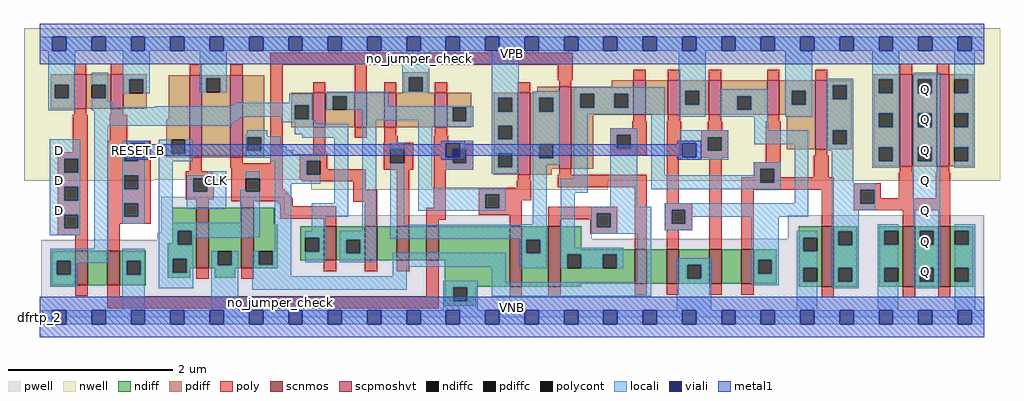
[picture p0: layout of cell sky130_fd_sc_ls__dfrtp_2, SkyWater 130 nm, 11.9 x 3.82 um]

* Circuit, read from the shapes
.subckt sky130_fd_sc_ls__dfrtp_2 CLK D RESET_B VGND VNB VPB VPWR Q
XM1 n1 D n2 VNB sky130_fd_pr__nfet_01v8 w=0.42 l=0.15
XM2 VGND RESET_B n1 VNB sky130_fd_pr__nfet_01v8 w=0.42 l=0.15
XM3 VGND CLK n3 VNB sky130_fd_pr__nfet_01v8 w=0.74 l=0.15
XM4 n4 n3 VGND VNB sky130_fd_pr__nfet_01v8 w=0.74 l=0.15
XM5 n5 n3 n2 VNB sky130_fd_pr__nfet_01v8 w=0.42 l=0.15
XM6 n6 n4 n5 VNB sky130_fd_pr__nfet_01v8 w=0.42 l=0.15
XM7 n7 n8 n6 VNB sky130_fd_pr__nfet_01v8 w=0.42 l=0.15
XM8 VGND RESET_B n7 VNB sky130_fd_pr__nfet_01v8 w=0.42 l=0.15
XM9 n8 n5 VGND VNB sky130_fd_pr__nfet_01v8 w=0.74 l=0.15
XM10 n9 n4 n8 VNB sky130_fd_pr__nfet_01v8 w=0.74 l=0.15
XM11 n10 n3 n9 VNB sky130_fd_pr__nfet_01v8 w=0.42 l=0.15
XM12 VGND n11 n10 VNB sky130_fd_pr__nfet_01v8 w=0.42 l=0.15
XM13 n12 RESET_B VGND VNB sky130_fd_pr__nfet_01v8 w=0.42 l=0.15
XM14 n11 n9 n12 VNB sky130_fd_pr__nfet_01v8 w=0.42 l=0.15
XM15 n13 n9 VGND VNB sky130_fd_pr__nfet_01v8 w=0.74 l=0.15
XM16 Q n13 VGND VNB sky130_fd_pr__nfet_01v8 w=0.74 l=0.15 m=2
XM17 n2 D VPWR VPB sky130_fd_pr__pfet_01v8_hvt w=0.42 l=0.15
XM18 VPWR RESET_B n2 VPB sky130_fd_pr__pfet_01v8_hvt w=0.42 l=0.15
XM19 VPWR CLK n3 VPB sky130_fd_pr__pfet_01v8_hvt w=1 l=0.15
XM20 n4 n3 VPWR VPB sky130_fd_pr__pfet_01v8_hvt w=1 l=0.15
XM21 n5 n4 n2 VPB sky130_fd_pr__pfet_01v8_hvt w=0.42 l=0.15
XM22 n14 n3 n5 VPB sky130_fd_pr__pfet_01v8_hvt w=0.42 l=0.15
XM23 VPWR n8 n14 VPB sky130_fd_pr__pfet_01v8_hvt w=0.42 l=0.15
XM24 n5 RESET_B VPWR VPB sky130_fd_pr__pfet_01v8_hvt w=0.42 l=0.15
XM25 n8 n5 VPWR VPB sky130_fd_pr__pfet_01v8_hvt w=1 l=0.15
XM26 n9 n3 n8 VPB sky130_fd_pr__pfet_01v8_hvt w=1 l=0.15
XM27 n15 n4 n9 VPB sky130_fd_pr__pfet_01v8_hvt w=0.42 l=0.15
XM28 VPWR n11 n15 VPB sky130_fd_pr__pfet_01v8_hvt w=0.42 l=0.15
XM29 n11 RESET_B VPWR VPB sky130_fd_pr__pfet_01v8_hvt w=0.42 l=0.15
XM30 VPWR n9 n11 VPB sky130_fd_pr__pfet_01v8_hvt w=0.42 l=0.15
XM31 n13 n9 VPWR VPB sky130_fd_pr__pfet_01v8_hvt w=0.84 l=0.15
XM32 Q n13 VPWR VPB sky130_fd_pr__pfet_01v8_hvt w=1.12 l=0.15 m=2
.ends

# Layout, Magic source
magic
tech sky130A
magscale 1 2
<< nwell >>
rect -38 335 2342 704
rect -38 332 278 335
rect 662 332 2342 335
rect 662 311 1386 332
<< pwell >>
rect 297 251 598 293
rect 297 248 607 251
rect 297 206 1347 248
rect 287 191 1347 206
rect 1825 191 2303 248
rect 287 188 2303 191
rect 4 49 2303 188
rect 0 0 2304 49
<< scnmos >>
rect 87 78 117 162
rect 165 78 195 162
rect 382 119 412 267
rect 492 119 522 267
rect 693 138 723 222
rect 793 138 823 222
rect 871 138 901 222
rect 943 138 973 222
rect 1146 74 1176 222
rect 1241 74 1271 222
rect 1451 81 1481 165
rect 1529 81 1559 165
rect 1633 81 1663 165
rect 1711 81 1741 165
rect 1907 74 1937 222
rect 2105 74 2135 222
rect 2191 74 2221 222
<< scpmoshvt >>
rect 84 508 114 592
rect 174 508 204 592
rect 366 390 396 590
rect 465 390 495 590
rect 667 463 697 547
rect 768 463 798 547
rect 840 463 870 547
rect 964 463 994 547
rect 1166 347 1196 547
rect 1267 362 1297 562
rect 1448 493 1478 577
rect 1532 493 1562 577
rect 1632 493 1662 577
rect 1774 493 1804 577
rect 1891 409 1921 577
rect 2098 368 2128 592
rect 2188 368 2218 592
<< ndiff >>
rect 323 210 382 267
rect 323 180 337 210
rect 313 176 337 180
rect 371 176 382 210
rect 30 137 87 162
rect 30 103 42 137
rect 76 103 87 137
rect 30 78 87 103
rect 117 78 165 162
rect 195 137 259 162
rect 195 103 213 137
rect 247 103 259 137
rect 195 78 259 103
rect 313 142 382 176
rect 313 108 325 142
rect 359 119 382 142
rect 412 160 492 267
rect 412 126 435 160
rect 469 126 492 160
rect 412 119 492 126
rect 522 225 572 267
rect 522 161 581 225
rect 522 127 535 161
rect 569 127 581 161
rect 636 193 693 222
rect 636 159 648 193
rect 682 159 693 193
rect 636 138 693 159
rect 723 189 793 222
rect 723 155 748 189
rect 782 155 793 189
rect 723 138 793 155
rect 823 138 871 222
rect 901 138 943 222
rect 973 138 1146 222
rect 522 119 581 127
rect 359 108 367 119
rect 313 96 367 108
rect 427 96 477 119
rect 988 74 1146 138
rect 1176 189 1241 222
rect 1176 155 1187 189
rect 1221 155 1241 189
rect 1176 74 1241 155
rect 1271 165 1321 222
rect 1851 194 1907 222
rect 1271 153 1451 165
rect 1271 119 1287 153
rect 1321 119 1373 153
rect 1407 119 1451 153
rect 1271 81 1451 119
rect 1481 81 1529 165
rect 1559 127 1633 165
rect 1559 93 1579 127
rect 1613 93 1633 127
rect 1559 81 1633 93
rect 1663 81 1711 165
rect 1741 140 1797 165
rect 1741 106 1752 140
rect 1786 106 1797 140
rect 1741 81 1797 106
rect 1851 160 1862 194
rect 1896 160 1907 194
rect 1851 120 1907 160
rect 1851 86 1862 120
rect 1896 86 1907 120
rect 1271 74 1321 81
rect 988 73 1065 74
rect 988 39 1009 73
rect 1043 39 1065 73
rect 1851 74 1907 86
rect 1937 209 1994 222
rect 1937 175 1948 209
rect 1982 175 1994 209
rect 1937 120 1994 175
rect 1937 86 1948 120
rect 1982 86 1994 120
rect 1937 74 1994 86
rect 2048 210 2105 222
rect 2048 176 2060 210
rect 2094 176 2105 210
rect 2048 120 2105 176
rect 2048 86 2060 120
rect 2094 86 2105 120
rect 2048 74 2105 86
rect 2135 210 2191 222
rect 2135 176 2146 210
rect 2180 176 2191 210
rect 2135 120 2191 176
rect 2135 86 2146 120
rect 2180 86 2191 120
rect 2135 74 2191 86
rect 2221 210 2277 222
rect 2221 176 2232 210
rect 2266 176 2277 210
rect 2221 120 2277 176
rect 2221 86 2232 120
rect 2266 86 2277 120
rect 2221 74 2277 86
rect 988 27 1065 39
<< pdiff >>
rect 27 567 84 592
rect 27 533 37 567
rect 71 533 84 567
rect 27 508 84 533
rect 114 567 174 592
rect 114 533 127 567
rect 161 533 174 567
rect 114 508 174 533
rect 204 580 261 592
rect 204 546 219 580
rect 253 546 261 580
rect 204 508 261 546
rect 315 482 366 590
rect 309 432 366 482
rect 309 398 321 432
rect 355 398 366 432
rect 309 390 366 398
rect 396 582 465 590
rect 396 548 407 582
rect 441 548 465 582
rect 396 390 465 548
rect 495 439 548 590
rect 495 405 506 439
rect 540 405 548 439
rect 495 390 548 405
rect 888 585 946 597
rect 888 551 900 585
rect 934 551 946 585
rect 2034 580 2098 592
rect 888 547 946 551
rect 1395 562 1448 577
rect 1214 547 1267 562
rect 614 516 667 547
rect 614 482 622 516
rect 656 482 667 516
rect 614 463 667 482
rect 697 539 768 547
rect 697 505 715 539
rect 749 505 768 539
rect 697 463 768 505
rect 798 463 840 547
rect 870 463 964 547
rect 994 512 1053 547
rect 994 478 1007 512
rect 1041 478 1053 512
rect 994 463 1053 478
rect 1107 535 1166 547
rect 1107 501 1119 535
rect 1153 501 1166 535
rect 1107 467 1166 501
rect 1107 433 1119 467
rect 1153 433 1166 467
rect 1107 399 1166 433
rect 1107 365 1119 399
rect 1153 365 1166 399
rect 1107 347 1166 365
rect 1196 535 1267 547
rect 1196 501 1219 535
rect 1253 501 1267 535
rect 1196 421 1267 501
rect 1196 387 1219 421
rect 1253 387 1267 421
rect 1196 362 1267 387
rect 1297 545 1448 562
rect 1297 511 1319 545
rect 1353 511 1401 545
rect 1435 511 1448 545
rect 1297 493 1448 511
rect 1478 493 1532 577
rect 1562 552 1632 577
rect 1562 518 1575 552
rect 1609 518 1632 552
rect 1562 493 1632 518
rect 1662 539 1774 577
rect 1662 505 1701 539
rect 1735 505 1774 539
rect 1662 493 1774 505
rect 1804 552 1891 577
rect 1804 518 1834 552
rect 1868 518 1891 552
rect 1804 493 1891 518
rect 1297 362 1350 493
rect 1196 347 1249 362
rect 1822 409 1891 493
rect 1921 565 1980 577
rect 1921 531 1934 565
rect 1968 531 1980 565
rect 1921 456 1980 531
rect 1921 422 1934 456
rect 1968 422 1980 456
rect 1921 409 1980 422
rect 2034 546 2046 580
rect 2080 546 2098 580
rect 2034 497 2098 546
rect 2034 463 2046 497
rect 2080 463 2098 497
rect 2034 414 2098 463
rect 2034 380 2046 414
rect 2080 380 2098 414
rect 2034 368 2098 380
rect 2128 580 2188 592
rect 2128 546 2141 580
rect 2175 546 2188 580
rect 2128 497 2188 546
rect 2128 463 2141 497
rect 2175 463 2188 497
rect 2128 414 2188 463
rect 2128 380 2141 414
rect 2175 380 2188 414
rect 2128 368 2188 380
rect 2218 580 2277 592
rect 2218 546 2231 580
rect 2265 546 2277 580
rect 2218 497 2277 546
rect 2218 463 2231 497
rect 2265 463 2277 497
rect 2218 414 2277 463
rect 2218 380 2231 414
rect 2265 380 2277 414
rect 2218 368 2277 380
<< ndiffc >>
rect 337 176 371 210
rect 42 103 76 137
rect 213 103 247 137
rect 325 108 359 142
rect 435 126 469 160
rect 535 127 569 161
rect 648 159 682 193
rect 748 155 782 189
rect 1187 155 1221 189
rect 1287 119 1321 153
rect 1373 119 1407 153
rect 1579 93 1613 127
rect 1752 106 1786 140
rect 1862 160 1896 194
rect 1862 86 1896 120
rect 1009 39 1043 73
rect 1948 175 1982 209
rect 1948 86 1982 120
rect 2060 176 2094 210
rect 2060 86 2094 120
rect 2146 176 2180 210
rect 2146 86 2180 120
rect 2232 176 2266 210
rect 2232 86 2266 120
<< pdiffc >>
rect 37 533 71 567
rect 127 533 161 567
rect 219 546 253 580
rect 321 398 355 432
rect 407 548 441 582
rect 506 405 540 439
rect 900 551 934 585
rect 622 482 656 516
rect 715 505 749 539
rect 1007 478 1041 512
rect 1119 501 1153 535
rect 1119 433 1153 467
rect 1119 365 1153 399
rect 1219 501 1253 535
rect 1219 387 1253 421
rect 1319 511 1353 545
rect 1401 511 1435 545
rect 1575 518 1609 552
rect 1701 505 1735 539
rect 1834 518 1868 552
rect 1934 531 1968 565
rect 1934 422 1968 456
rect 2046 546 2080 580
rect 2046 463 2080 497
rect 2046 380 2080 414
rect 2141 546 2175 580
rect 2141 463 2175 497
rect 2141 380 2175 414
rect 2231 546 2265 580
rect 2231 463 2265 497
rect 2231 380 2265 414
<< poly >>
rect 84 592 114 618
rect 174 592 204 618
rect 366 590 396 616
rect 465 590 495 616
rect 563 615 1300 645
rect 84 493 114 508
rect 174 493 204 508
rect 81 402 117 493
rect 171 430 214 493
rect 44 386 117 402
rect 44 352 60 386
rect 94 352 117 386
rect 44 318 117 352
rect 44 284 60 318
rect 94 284 117 318
rect 44 250 117 284
rect 44 216 60 250
rect 94 216 117 250
rect 44 200 117 216
rect 87 162 117 200
rect 165 414 271 430
rect 165 380 207 414
rect 241 380 271 414
rect 165 346 271 380
rect 366 355 396 390
rect 465 375 495 390
rect 563 375 593 615
rect 667 547 697 573
rect 768 547 798 615
rect 840 547 870 573
rect 1264 577 1300 615
rect 1448 577 1478 603
rect 1532 577 1562 603
rect 1632 577 1662 603
rect 1774 577 1804 603
rect 1891 577 1921 603
rect 2098 592 2128 618
rect 2188 592 2218 618
rect 964 547 994 573
rect 1166 547 1196 573
rect 1267 562 1297 577
rect 667 398 697 463
rect 768 437 798 463
rect 840 442 870 463
rect 964 442 994 463
rect 840 425 873 442
rect 961 425 997 442
rect 839 409 911 425
rect 667 397 701 398
rect 465 364 593 375
rect 165 312 207 346
rect 241 312 271 346
rect 165 278 271 312
rect 356 351 421 355
rect 356 339 425 351
rect 356 305 375 339
rect 409 305 425 339
rect 356 287 425 305
rect 467 339 593 364
rect 467 305 503 339
rect 537 312 593 339
rect 635 381 701 397
rect 635 347 651 381
rect 685 361 701 381
rect 839 375 855 409
rect 889 375 911 409
rect 685 347 795 361
rect 839 359 911 375
rect 961 409 1057 425
rect 961 375 1007 409
rect 1041 375 1057 409
rect 961 359 1057 375
rect 635 337 795 347
rect 637 335 795 337
rect 639 333 795 335
rect 641 331 795 333
rect 537 307 598 312
rect 765 311 795 331
rect 537 305 601 307
rect 467 304 601 305
rect 467 301 604 304
rect 467 298 607 301
rect 467 296 609 298
rect 467 293 612 296
rect 467 290 615 293
rect 165 244 207 278
rect 241 244 271 278
rect 382 267 412 287
rect 467 282 617 290
rect 492 267 522 282
rect 580 280 617 282
rect 765 281 823 311
rect 581 279 617 280
rect 583 278 617 279
rect 584 276 617 278
rect 585 275 617 276
rect 587 270 617 275
rect 165 228 271 244
rect 165 162 195 228
rect 587 240 723 270
rect 693 222 723 240
rect 793 222 823 281
rect 871 222 901 359
rect 961 267 991 359
rect 1448 478 1478 493
rect 1532 478 1562 493
rect 1632 478 1662 493
rect 1774 478 1804 493
rect 1445 461 1481 478
rect 1391 445 1481 461
rect 1391 411 1407 445
rect 1441 411 1481 445
rect 1391 395 1481 411
rect 1529 395 1565 478
rect 1629 455 1665 478
rect 1613 439 1679 455
rect 1613 405 1629 439
rect 1663 405 1679 439
rect 1267 347 1297 362
rect 1166 332 1196 347
rect 1163 315 1199 332
rect 1264 317 1481 347
rect 943 237 991 267
rect 1071 299 1199 315
rect 1071 265 1087 299
rect 1121 285 1199 299
rect 1121 265 1176 285
rect 1071 249 1176 265
rect 943 222 973 237
rect 1146 222 1176 249
rect 1241 253 1409 269
rect 1241 239 1359 253
rect 1241 222 1271 239
rect 382 93 412 119
rect 492 93 522 119
rect 693 112 723 138
rect 793 112 823 138
rect 871 112 901 138
rect 87 52 117 78
rect 165 51 195 78
rect 943 51 973 138
rect 165 21 973 51
rect 1343 219 1359 239
rect 1393 219 1409 253
rect 1343 203 1409 219
rect 1451 165 1481 317
rect 1529 278 1559 395
rect 1613 389 1679 405
rect 1525 262 1591 278
rect 1525 228 1541 262
rect 1575 228 1591 262
rect 1525 212 1591 228
rect 1529 165 1559 212
rect 1633 165 1663 389
rect 1771 378 1807 478
rect 1891 394 1921 409
rect 1741 362 1807 378
rect 1741 341 1757 362
rect 1711 328 1757 341
rect 1791 341 1807 362
rect 1888 341 1924 394
rect 2098 353 2128 368
rect 2188 353 2218 368
rect 1791 328 1937 341
rect 1711 311 1937 328
rect 1711 165 1741 311
rect 1907 222 1937 311
rect 1985 310 2051 326
rect 1985 276 2001 310
rect 2035 290 2051 310
rect 2095 290 2131 353
rect 2185 290 2221 353
rect 2035 276 2221 290
rect 1985 260 2221 276
rect 2105 222 2135 260
rect 2191 222 2221 260
rect 1146 48 1176 74
rect 1241 48 1271 74
rect 1451 55 1481 81
rect 1529 55 1559 81
rect 1633 55 1663 81
rect 1711 55 1741 81
rect 1907 48 1937 74
rect 2105 48 2135 74
rect 2191 48 2221 74
<< polycont >>
rect 60 352 94 386
rect 60 284 94 318
rect 60 216 94 250
rect 207 380 241 414
rect 207 312 241 346
rect 375 305 409 339
rect 503 305 537 339
rect 651 347 685 381
rect 855 375 889 409
rect 1007 375 1041 409
rect 207 244 241 278
rect 1407 411 1441 445
rect 1629 405 1663 439
rect 1087 265 1121 299
rect 1359 219 1393 253
rect 1541 228 1575 262
rect 1757 328 1791 362
rect 2001 276 2035 310
<< locali >>
rect 0 649 31 683
rect 65 649 127 683
rect 161 649 223 683
rect 257 649 319 683
rect 353 649 415 683
rect 449 649 511 683
rect 545 649 607 683
rect 641 649 703 683
rect 737 649 799 683
rect 833 649 895 683
rect 929 649 991 683
rect 1025 649 1087 683
rect 1121 649 1183 683
rect 1217 649 1279 683
rect 1313 649 1375 683
rect 1409 649 1471 683
rect 1505 649 1567 683
rect 1601 649 1663 683
rect 1697 649 1759 683
rect 1793 649 1855 683
rect 1889 649 1951 683
rect 1985 649 2047 683
rect 2081 649 2143 683
rect 2177 649 2239 683
rect 2273 649 2304 683
rect 21 567 87 649
rect 21 533 37 567
rect 71 533 87 567
rect 21 504 87 533
rect 127 567 167 596
rect 161 533 167 567
rect 203 580 269 649
rect 203 546 219 580
rect 253 546 269 580
rect 391 582 457 649
rect 391 548 407 582
rect 441 548 457 582
rect 884 585 950 649
rect 884 551 900 585
rect 934 551 950 585
rect 127 526 167 533
rect 127 521 174 526
rect 609 523 665 545
rect 481 521 665 523
rect 127 512 178 521
rect 478 519 665 521
rect 475 518 665 519
rect 473 517 665 518
rect 471 516 665 517
rect 469 515 622 516
rect 466 514 622 515
rect 281 512 622 514
rect 127 504 622 512
rect 133 489 622 504
rect 133 488 497 489
rect 133 487 494 488
rect 133 486 492 487
rect 133 484 488 486
rect 133 481 484 484
rect 589 482 622 489
rect 656 482 665 516
rect 699 539 850 550
rect 884 548 950 551
rect 699 505 715 539
rect 749 514 850 539
rect 1103 535 1169 649
rect 749 512 1057 514
rect 749 505 1007 512
rect 133 479 481 481
rect 589 480 665 482
rect 787 480 1007 505
rect 133 476 477 479
rect 133 471 472 476
rect 589 475 674 480
rect 622 471 674 475
rect 133 466 468 471
rect 25 386 99 434
rect 25 352 60 386
rect 94 352 99 386
rect 25 318 99 352
rect 25 284 60 318
rect 94 284 99 318
rect 25 250 99 284
rect 25 216 60 250
rect 94 216 99 250
rect 25 200 99 216
rect 133 166 167 466
rect 506 446 555 455
rect 622 446 753 471
rect 503 441 555 446
rect 503 439 588 441
rect 201 424 257 430
rect 201 414 223 424
rect 201 380 207 414
rect 241 380 257 390
rect 201 346 257 380
rect 201 312 207 346
rect 241 312 257 346
rect 201 278 257 312
rect 201 244 207 278
rect 241 244 257 278
rect 201 228 257 244
rect 291 398 321 432
rect 355 398 373 432
rect 291 380 373 398
rect 503 405 506 439
rect 540 416 588 439
rect 640 437 753 446
rect 540 407 602 416
rect 540 405 619 407
rect 503 397 619 405
rect 503 389 685 397
rect 562 381 685 389
rect 562 380 651 381
rect 291 230 325 380
rect 409 346 455 356
rect 359 339 455 346
rect 359 305 375 339
rect 409 305 455 339
rect 503 339 537 355
rect 359 264 455 305
rect 489 305 503 310
rect 489 230 537 305
rect 291 210 537 230
rect 291 176 337 210
rect 371 195 537 210
rect 573 347 651 380
rect 573 325 685 347
rect 371 194 508 195
rect 371 176 375 194
rect 26 137 167 166
rect 26 103 42 137
rect 76 132 167 137
rect 201 137 257 166
rect 76 103 92 132
rect 26 74 92 103
rect 201 103 213 137
rect 247 103 257 137
rect 201 17 257 103
rect 291 142 375 176
rect 573 161 614 325
rect 719 278 753 437
rect 664 244 753 278
rect 664 209 698 244
rect 787 210 821 480
rect 923 478 1007 480
rect 1041 478 1057 512
rect 923 464 1057 478
rect 1103 501 1119 535
rect 1153 501 1169 535
rect 1103 467 1169 501
rect 291 108 325 142
rect 359 108 375 142
rect 291 70 375 108
rect 419 126 435 160
rect 469 126 485 160
rect 419 17 485 126
rect 519 127 535 161
rect 569 127 614 161
rect 648 193 698 209
rect 682 159 698 193
rect 648 134 698 159
rect 732 189 821 210
rect 855 409 889 425
rect 855 225 889 375
rect 923 315 957 464
rect 1103 433 1119 467
rect 1153 433 1169 467
rect 991 424 1057 430
rect 1025 409 1057 424
rect 991 375 1007 390
rect 1041 375 1057 409
rect 991 359 1057 375
rect 1103 399 1169 433
rect 1103 365 1119 399
rect 1153 365 1169 399
rect 1103 349 1169 365
rect 1203 535 1269 551
rect 1203 501 1219 535
rect 1253 501 1269 535
rect 1203 421 1269 501
rect 1203 387 1219 421
rect 1253 387 1269 421
rect 1203 371 1269 387
rect 1303 545 1525 561
rect 1303 511 1319 545
rect 1353 511 1401 545
rect 1435 511 1525 545
rect 1303 495 1525 511
rect 923 299 1137 315
rect 923 265 1087 299
rect 1121 265 1137 299
rect 923 259 1137 265
rect 1203 226 1237 371
rect 1303 337 1337 495
rect 1171 225 1237 226
rect 855 191 1237 225
rect 732 155 748 189
rect 782 155 821 189
rect 1171 189 1237 191
rect 732 134 821 155
rect 519 100 614 127
rect 861 123 1137 157
rect 861 100 895 123
rect 519 66 895 100
rect 984 73 1069 89
rect 984 39 1009 73
rect 1043 39 1069 73
rect 1103 85 1137 123
rect 1171 155 1187 189
rect 1221 155 1237 189
rect 1171 119 1237 155
rect 1271 303 1337 337
rect 1391 445 1457 461
rect 1391 411 1407 445
rect 1441 411 1457 445
rect 1271 169 1305 303
rect 1391 269 1457 411
rect 1491 346 1525 495
rect 1559 552 1625 649
rect 1559 518 1575 552
rect 1609 518 1625 552
rect 1559 489 1625 518
rect 1659 539 1777 555
rect 1659 505 1701 539
rect 1735 505 1777 539
rect 1659 489 1777 505
rect 1818 552 1884 649
rect 1818 518 1834 552
rect 1868 518 1884 552
rect 1818 489 1884 518
rect 1918 565 1984 581
rect 1918 531 1934 565
rect 1968 531 1984 565
rect 1743 455 1777 489
rect 1918 456 1984 531
rect 1561 439 1679 455
rect 1561 424 1629 439
rect 1561 390 1567 424
rect 1601 405 1629 424
rect 1663 405 1679 439
rect 1743 421 1875 455
rect 1601 390 1679 405
rect 1561 384 1679 390
rect 1741 362 1807 378
rect 1741 346 1757 362
rect 1491 328 1757 346
rect 1791 328 1807 362
rect 1491 312 1807 328
rect 1841 278 1875 421
rect 1918 422 1934 456
rect 1968 422 1984 456
rect 1918 406 1984 422
rect 1345 253 1491 269
rect 1345 219 1359 253
rect 1393 219 1491 253
rect 1345 203 1491 219
rect 1525 262 1875 278
rect 1525 228 1541 262
rect 1575 244 1875 262
rect 1932 326 1984 406
rect 2030 580 2096 649
rect 2030 546 2046 580
rect 2080 546 2096 580
rect 2030 497 2096 546
rect 2030 463 2046 497
rect 2080 463 2096 497
rect 2030 414 2096 463
rect 2030 380 2046 414
rect 2080 380 2096 414
rect 2030 364 2096 380
rect 2130 580 2196 596
rect 2130 546 2141 580
rect 2175 546 2196 580
rect 2130 497 2196 546
rect 2130 463 2141 497
rect 2175 463 2196 497
rect 2130 414 2196 463
rect 2130 380 2141 414
rect 2175 380 2196 414
rect 1932 310 2038 326
rect 1932 276 2001 310
rect 2035 276 2038 310
rect 1932 260 2038 276
rect 1575 228 1591 244
rect 1525 212 1591 228
rect 1271 153 1423 169
rect 1271 119 1287 153
rect 1321 119 1373 153
rect 1407 119 1423 153
rect 1457 85 1491 203
rect 1103 51 1491 85
rect 1554 127 1638 143
rect 1554 93 1579 127
rect 1613 93 1638 127
rect 984 17 1069 39
rect 1554 17 1638 93
rect 1736 140 1802 244
rect 1736 106 1752 140
rect 1786 106 1802 140
rect 1736 77 1802 106
rect 1846 194 1896 210
rect 1846 160 1862 194
rect 1846 120 1896 160
rect 1846 86 1862 120
rect 1846 17 1896 86
rect 1932 209 1998 260
rect 1932 175 1948 209
rect 1982 175 1998 209
rect 1932 120 1998 175
rect 1932 86 1948 120
rect 1982 86 1998 120
rect 1932 70 1998 86
rect 2044 210 2094 226
rect 2044 176 2060 210
rect 2044 120 2094 176
rect 2044 86 2060 120
rect 2044 17 2094 86
rect 2130 210 2196 380
rect 2231 580 2281 649
rect 2265 546 2281 580
rect 2231 497 2281 546
rect 2265 463 2281 497
rect 2231 414 2281 463
rect 2265 380 2281 414
rect 2231 364 2281 380
rect 2130 176 2146 210
rect 2180 176 2196 210
rect 2130 120 2196 176
rect 2130 86 2146 120
rect 2180 86 2196 120
rect 2130 70 2196 86
rect 2232 210 2282 226
rect 2266 176 2282 210
rect 2232 120 2282 176
rect 2266 86 2282 120
rect 2232 17 2282 86
rect 0 -17 31 17
rect 65 -17 127 17
rect 161 -17 223 17
rect 257 -17 319 17
rect 353 -17 415 17
rect 449 -17 511 17
rect 545 -17 607 17
rect 641 -17 703 17
rect 737 -17 799 17
rect 833 -17 895 17
rect 929 -17 991 17
rect 1025 -17 1087 17
rect 1121 -17 1183 17
rect 1217 -17 1279 17
rect 1313 -17 1375 17
rect 1409 -17 1471 17
rect 1505 -17 1567 17
rect 1601 -17 1663 17
rect 1697 -17 1759 17
rect 1793 -17 1855 17
rect 1889 -17 1951 17
rect 1985 -17 2047 17
rect 2081 -17 2143 17
rect 2177 -17 2239 17
rect 2273 -17 2304 17
<< viali >>
rect 31 649 65 683
rect 127 649 161 683
rect 223 649 257 683
rect 319 649 353 683
rect 415 649 449 683
rect 511 649 545 683
rect 607 649 641 683
rect 703 649 737 683
rect 799 649 833 683
rect 895 649 929 683
rect 991 649 1025 683
rect 1087 649 1121 683
rect 1183 649 1217 683
rect 1279 649 1313 683
rect 1375 649 1409 683
rect 1471 649 1505 683
rect 1567 649 1601 683
rect 1663 649 1697 683
rect 1759 649 1793 683
rect 1855 649 1889 683
rect 1951 649 1985 683
rect 2047 649 2081 683
rect 2143 649 2177 683
rect 2239 649 2273 683
rect 223 414 257 424
rect 223 390 241 414
rect 241 390 257 414
rect 991 409 1025 424
rect 991 390 1007 409
rect 1007 390 1025 409
rect 1567 390 1601 424
rect 31 -17 65 17
rect 127 -17 161 17
rect 223 -17 257 17
rect 319 -17 353 17
rect 415 -17 449 17
rect 511 -17 545 17
rect 607 -17 641 17
rect 703 -17 737 17
rect 799 -17 833 17
rect 895 -17 929 17
rect 991 -17 1025 17
rect 1087 -17 1121 17
rect 1183 -17 1217 17
rect 1279 -17 1313 17
rect 1375 -17 1409 17
rect 1471 -17 1505 17
rect 1567 -17 1601 17
rect 1663 -17 1697 17
rect 1759 -17 1793 17
rect 1855 -17 1889 17
rect 1951 -17 1985 17
rect 2047 -17 2081 17
rect 2143 -17 2177 17
rect 2239 -17 2273 17
<< metal1 >>
rect 0 683 2304 715
rect 0 649 31 683
rect 65 649 127 683
rect 161 649 223 683
rect 257 649 319 683
rect 353 649 415 683
rect 449 649 511 683
rect 545 649 607 683
rect 641 649 703 683
rect 737 649 799 683
rect 833 649 895 683
rect 929 649 991 683
rect 1025 649 1087 683
rect 1121 649 1183 683
rect 1217 649 1279 683
rect 1313 649 1375 683
rect 1409 649 1471 683
rect 1505 649 1567 683
rect 1601 649 1663 683
rect 1697 649 1759 683
rect 1793 649 1855 683
rect 1889 649 1951 683
rect 1985 649 2047 683
rect 2081 649 2143 683
rect 2177 649 2239 683
rect 2273 649 2304 683
rect 0 617 2304 649
rect 211 424 269 430
rect 211 390 223 424
rect 257 421 269 424
rect 979 424 1037 430
rect 979 421 991 424
rect 257 393 991 421
rect 257 390 269 393
rect 211 384 269 390
rect 979 390 991 393
rect 1025 421 1037 424
rect 1555 424 1613 430
rect 1555 421 1567 424
rect 1025 393 1567 421
rect 1025 390 1037 393
rect 979 384 1037 390
rect 1555 390 1567 393
rect 1601 390 1613 424
rect 1555 384 1613 390
rect 0 17 2304 49
rect 0 -17 31 17
rect 65 -17 127 17
rect 161 -17 223 17
rect 257 -17 319 17
rect 353 -17 415 17
rect 449 -17 511 17
rect 545 -17 607 17
rect 641 -17 703 17
rect 737 -17 799 17
rect 833 -17 895 17
rect 929 -17 991 17
rect 1025 -17 1087 17
rect 1121 -17 1183 17
rect 1217 -17 1279 17
rect 1313 -17 1375 17
rect 1409 -17 1471 17
rect 1505 -17 1567 17
rect 1601 -17 1663 17
rect 1697 -17 1759 17
rect 1793 -17 1855 17
rect 1889 -17 1951 17
rect 1985 -17 2047 17
rect 2081 -17 2143 17
rect 2177 -17 2239 17
rect 2273 -17 2304 17
rect 0 -49 2304 -17
<< labels >>
flabel comment s 926 630 926 630 0 FreeSans 300 0 0 0 no_jumper_check
flabel comment s 587 36 587 36 0 FreeSans 300 0 0 0 no_jumper_check
rlabel comment s 0 0 0 0 4 dfrtp_2
flabel pwell s 0 0 2304 49 0 FreeSans 200 0 0 0 VNB
port 5 nsew ground bidirectional
flabel nwell s 0 617 2304 666 0 FreeSans 200 0 0 0 VPB
port 6 nsew power bidirectional
flabel metal1 s 223 390 257 424 0 FreeSans 340 0 0 0 RESET_B
port 3 nsew signal input
flabel metal1 s 0 617 2304 666 0 FreeSans 340 0 0 0 VPWR
port 7 nsew power bidirectional abutment
flabel metal1 s 0 0 2304 49 0 FreeSans 340 0 0 0 VGND
port 4 nsew ground bidirectional abutment
flabel locali s 31 242 65 276 0 FreeSans 340 0 0 0 D
port 2 nsew signal input
flabel locali s 31 316 65 350 0 FreeSans 340 0 0 0 D
port 2 nsew signal input
flabel locali s 31 390 65 424 0 FreeSans 340 0 0 0 D
port 2 nsew signal input
flabel locali s 415 316 449 350 0 FreeSans 340 0 0 0 CLK
port 1 nsew clock input
flabel locali s 2143 94 2177 128 0 FreeSans 340 0 0 0 Q
port 8 nsew signal output
flabel locali s 2143 168 2177 202 0 FreeSans 340 0 0 0 Q
port 8 nsew signal output
flabel locali s 2143 242 2177 276 0 FreeSans 340 0 0 0 Q
port 8 nsew signal output
flabel locali s 2143 316 2177 350 0 FreeSans 340 0 0 0 Q
port 8 nsew signal output
flabel locali s 2143 390 2177 424 0 FreeSans 340 0 0 0 Q
port 8 nsew signal output
flabel locali s 2143 464 2177 498 0 FreeSans 340 0 0 0 Q
port 8 nsew signal output
flabel locali s 2143 538 2177 572 0 FreeSans 340 0 0 0 Q
port 8 nsew signal output
<< properties >>
string LEFsite unit
string LEFclass CORE
string FIXED_BBOX 0 0 2304 666
string GDS_FILE $PDKPATH/libs.ref/sky130_fd_sc_ls/gds/sky130_fd_sc_ls.gds
string LEFsymmetry X Y R90
string GDS_END 509288
string GDS_START 490402
<< end >>
